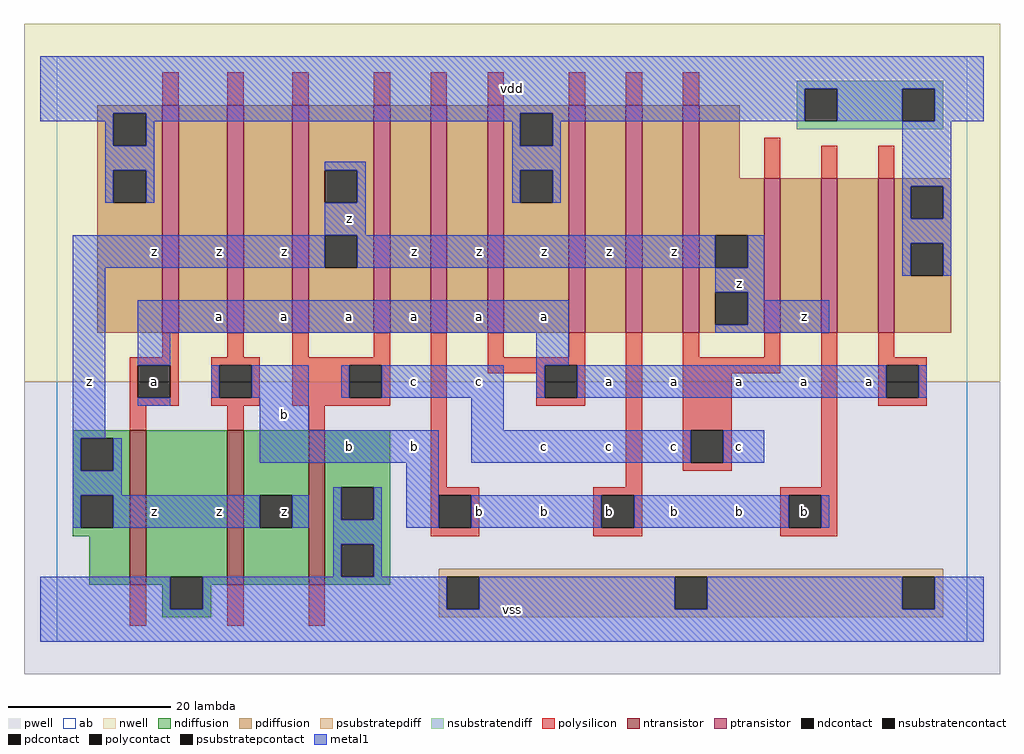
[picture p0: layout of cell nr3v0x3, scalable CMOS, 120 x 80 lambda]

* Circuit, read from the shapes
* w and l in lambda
.subckt nr3v0x3 a b c vdd vss z
M1 vss a z vss nfet w=19 l=2
M2 z b vss vss nfet w=19 l=2
M3 vss c z vss nfet w=19 l=2
M4 n1 a vdd vdd pfet w=28 l=2
M5 n2 b n1 vdd pfet w=28 l=2
M6 z c n2 vdd pfet w=28 l=2
M7 n3 c z vdd pfet w=28 l=2
M8 n4 b n3 vdd pfet w=28 l=2
M9 vdd a n4 vdd pfet w=28 l=2
M10 n5 a vdd vdd pfet w=28 l=2
M11 n6 b n5 vdd pfet w=28 l=2
M12 z c n6 vdd pfet w=28 l=2
M13 n7 c z vdd pfet w=19 l=2
M14 n8 b n7 vdd pfet w=19 l=2
M15 vdd a n8 vdd pfet w=19 l=2
.ends

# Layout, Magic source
magic
tech scmos
<< ab >>
rect 0 0 112 72
<< pwell >>
rect -4 -4 116 32
<< nwell >>
rect -4 32 116 76
<< polysilicon >>
rect 13 66 15 70
rect 21 66 23 70
rect 29 66 31 70
rect 39 66 41 70
rect 46 66 48 70
rect 53 66 55 70
rect 63 66 65 70
rect 70 66 72 70
rect 77 66 79 70
rect 87 57 89 62
rect 94 57 96 61
rect 101 57 103 61
rect 13 35 15 38
rect 21 35 23 38
rect 29 35 31 38
rect 39 35 41 38
rect 9 34 15 35
rect 9 30 10 34
rect 14 30 15 34
rect 9 29 15 30
rect 19 34 25 35
rect 19 30 20 34
rect 24 30 25 34
rect 19 29 25 30
rect 29 34 41 35
rect 29 30 36 34
rect 40 30 41 34
rect 29 29 41 30
rect 9 26 11 29
rect 21 26 23 29
rect 31 26 33 29
rect 9 2 11 7
rect 46 19 48 38
rect 53 35 55 38
rect 63 35 65 38
rect 53 34 65 35
rect 53 33 60 34
rect 59 30 60 33
rect 64 30 65 34
rect 59 29 65 30
rect 70 19 72 38
rect 77 35 79 38
rect 87 35 89 38
rect 77 33 89 35
rect 77 26 83 33
rect 77 22 78 26
rect 82 22 83 26
rect 77 21 83 22
rect 94 19 96 38
rect 101 35 103 38
rect 101 34 107 35
rect 101 30 102 34
rect 106 30 107 34
rect 101 29 107 30
rect 46 18 52 19
rect 46 14 47 18
rect 51 14 52 18
rect 46 13 52 14
rect 66 18 72 19
rect 66 14 67 18
rect 71 14 72 18
rect 66 13 72 14
rect 89 18 96 19
rect 89 14 90 18
rect 94 14 96 18
rect 89 13 96 14
rect 21 2 23 7
rect 31 2 33 7
<< ndiffusion >>
rect 2 25 9 26
rect 2 21 3 25
rect 7 21 9 25
rect 2 18 9 21
rect 2 14 3 18
rect 7 14 9 18
rect 2 13 9 14
rect 4 7 9 13
rect 11 8 21 26
rect 11 7 14 8
rect 13 4 14 7
rect 18 7 21 8
rect 23 18 31 26
rect 23 14 25 18
rect 29 14 31 18
rect 23 7 31 14
rect 33 19 41 26
rect 33 15 35 19
rect 39 15 41 19
rect 33 12 41 15
rect 33 8 35 12
rect 39 8 41 12
rect 33 7 41 8
rect 18 4 19 7
rect 13 3 19 4
<< pdiffusion >>
rect 5 65 13 66
rect 5 61 7 65
rect 11 61 13 65
rect 5 58 13 61
rect 5 54 7 58
rect 11 54 13 58
rect 5 38 13 54
rect 15 38 21 66
rect 23 38 29 66
rect 31 58 39 66
rect 31 54 33 58
rect 37 54 39 58
rect 31 50 39 54
rect 31 46 33 50
rect 37 46 39 50
rect 31 38 39 46
rect 41 38 46 66
rect 48 38 53 66
rect 55 65 63 66
rect 55 61 57 65
rect 61 61 63 65
rect 55 58 63 61
rect 55 54 57 58
rect 61 54 63 58
rect 55 38 63 54
rect 65 38 70 66
rect 72 38 77 66
rect 79 57 84 66
rect 79 50 87 57
rect 79 46 81 50
rect 85 46 87 50
rect 79 43 87 46
rect 79 39 81 43
rect 85 39 87 43
rect 79 38 87 39
rect 89 38 94 57
rect 96 38 101 57
rect 103 56 110 57
rect 103 52 105 56
rect 109 52 110 56
rect 103 49 110 52
rect 103 45 105 49
rect 109 45 110 49
rect 103 38 110 45
<< metal1 >>
rect -2 68 114 72
rect -2 65 92 68
rect -2 64 7 65
rect 6 61 7 64
rect 11 64 57 65
rect 11 61 12 64
rect 6 58 12 61
rect 56 61 57 64
rect 61 64 92 65
rect 96 64 104 68
rect 108 64 114 68
rect 61 61 62 64
rect 6 54 7 58
rect 11 54 12 58
rect 33 58 38 59
rect 37 54 38 58
rect 56 58 62 61
rect 56 54 57 58
rect 61 54 62 58
rect 104 56 110 64
rect 33 50 38 54
rect 104 52 105 56
rect 109 52 110 56
rect 2 46 33 50
rect 37 46 81 50
rect 85 46 87 50
rect 2 25 6 46
rect 81 43 87 46
rect 104 49 110 52
rect 104 45 105 49
rect 109 45 110 49
rect 10 38 63 42
rect 85 42 87 43
rect 85 39 95 42
rect 81 38 95 39
rect 10 34 14 38
rect 59 34 63 38
rect 19 30 20 34
rect 24 30 31 34
rect 35 30 36 34
rect 40 30 55 34
rect 59 30 60 34
rect 64 30 102 34
rect 106 30 107 34
rect 10 29 14 30
rect 25 26 31 30
rect 51 26 55 30
rect 2 21 3 25
rect 7 21 8 25
rect 25 22 47 26
rect 51 22 78 26
rect 82 22 87 26
rect 2 18 8 21
rect 2 14 3 18
rect 7 14 25 18
rect 29 14 31 18
rect 34 15 35 19
rect 39 15 40 19
rect 34 12 40 15
rect 43 14 47 22
rect 51 14 67 18
rect 71 14 90 18
rect 94 14 95 18
rect 34 8 35 12
rect 39 8 40 12
rect -2 4 14 8
rect 18 4 48 8
rect 52 4 76 8
rect 80 4 104 8
rect 108 4 114 8
rect -2 0 114 4
<< ntransistor >>
rect 9 7 11 26
rect 21 7 23 26
rect 31 7 33 26
<< ptransistor >>
rect 13 38 15 66
rect 21 38 23 66
rect 29 38 31 66
rect 39 38 41 66
rect 46 38 48 66
rect 53 38 55 66
rect 63 38 65 66
rect 70 38 72 66
rect 77 38 79 66
rect 87 38 89 57
rect 94 38 96 57
rect 101 38 103 57
<< polycontact >>
rect 10 30 14 34
rect 20 30 24 34
rect 36 30 40 34
rect 60 30 64 34
rect 78 22 82 26
rect 102 30 106 34
rect 47 14 51 18
rect 67 14 71 18
rect 90 14 94 18
<< ndcontact >>
rect 3 21 7 25
rect 3 14 7 18
rect 14 4 18 8
rect 25 14 29 18
rect 35 15 39 19
rect 35 8 39 12
<< pdcontact >>
rect 7 61 11 65
rect 7 54 11 58
rect 33 54 37 58
rect 33 46 37 50
rect 57 61 61 65
rect 57 54 61 58
rect 81 46 85 50
rect 81 39 85 43
rect 105 52 109 56
rect 105 45 109 49
<< psubstratepcontact >>
rect 48 4 52 8
rect 76 4 80 8
rect 104 4 108 8
<< nsubstratencontact >>
rect 92 64 96 68
rect 104 64 108 68
<< psubstratepdiff >>
rect 47 8 109 9
rect 47 4 48 8
rect 52 4 76 8
rect 80 4 104 8
rect 108 4 109 8
rect 47 3 109 4
<< nsubstratendiff >>
rect 91 68 109 69
rect 91 64 92 68
rect 96 64 104 68
rect 108 64 109 68
rect 91 63 109 64
<< labels >>
rlabel metal1 12 16 12 16 6 z
rlabel metal1 4 32 4 32 6 z
rlabel polycontact 12 32 12 32 6 a
rlabel metal1 12 48 12 48 6 z
rlabel ndcontact 28 16 28 16 6 z
rlabel metal1 20 16 20 16 6 z
rlabel metal1 36 24 36 24 6 b
rlabel metal1 28 28 28 28 6 b
rlabel metal1 20 40 20 40 6 a
rlabel metal1 36 40 36 40 6 a
rlabel metal1 28 40 28 40 6 a
rlabel metal1 20 48 20 48 6 z
rlabel metal1 36 52 36 52 6 z
rlabel metal1 28 48 28 48 6 z
rlabel metal1 56 4 56 4 6 vss
rlabel metal1 60 16 60 16 6 b
rlabel metal1 52 16 52 16 6 b
rlabel metal1 44 24 44 24 6 b
rlabel metal1 60 24 60 24 6 c
rlabel metal1 52 32 52 32 6 c
rlabel metal1 44 32 44 32 6 c
rlabel metal1 44 40 44 40 6 a
rlabel metal1 60 40 60 40 6 a
rlabel metal1 52 40 52 40 6 a
rlabel metal1 44 48 44 48 6 z
rlabel metal1 60 48 60 48 6 z
rlabel metal1 52 48 52 48 6 z
rlabel metal1 56 68 56 68 6 vdd
rlabel metal1 84 16 84 16 6 b
rlabel metal1 76 16 76 16 6 b
rlabel polycontact 68 16 68 16 6 b
rlabel metal1 68 24 68 24 6 c
rlabel metal1 84 24 84 24 6 c
rlabel metal1 76 24 76 24 6 c
rlabel metal1 84 32 84 32 6 a
rlabel metal1 76 32 76 32 6 a
rlabel metal1 68 32 68 32 6 a
rlabel metal1 84 44 84 44 6 z
rlabel metal1 68 48 68 48 6 z
rlabel metal1 76 48 76 48 6 z
rlabel polycontact 92 16 92 16 6 b
rlabel metal1 100 32 100 32 6 a
rlabel metal1 92 32 92 32 6 a
rlabel metal1 92 40 92 40 6 z
<< end >>
